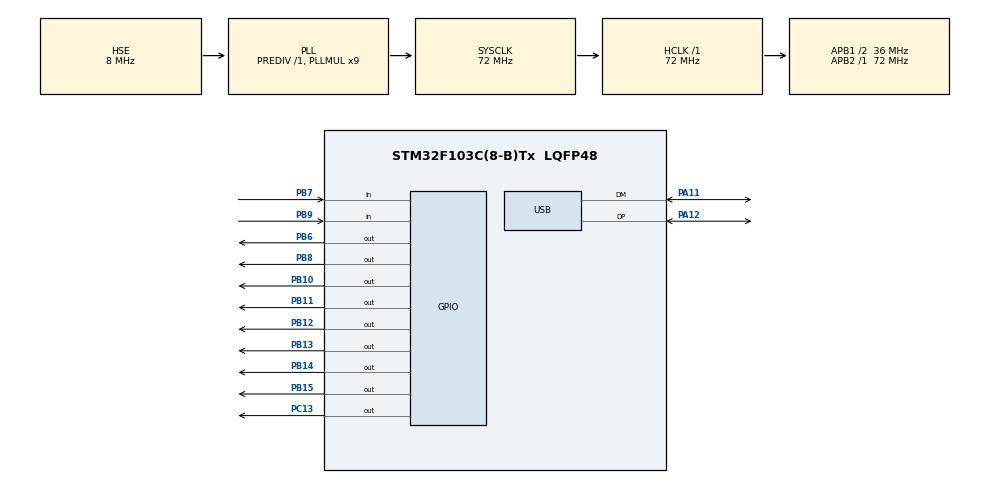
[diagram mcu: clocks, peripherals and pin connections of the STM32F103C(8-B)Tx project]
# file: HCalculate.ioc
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FREERTOS.Tasks01=defaultTask,24,128,StartDefaultTask,Default,NULL,Static,defaultTaskBuffer,defaultTaskControlBlock;KeyTask,40,128,KeyTaskFunc,Default,NULL,Static,KeyTaskBuffer,KeyTaskControlBlock;lcdTask,16,192,lcdTaskFunc,Default,NULL,Static,lcdTaskBuffer,lcdTaskControlBlock;calculatorTask,8,512,calculatorTaskFunc,Default,NULL,Static,claculatorTaskBuffer,claculatorTaskControlBlock;controllerTask,24,256,controllerTaskFunc,Default,NULL,Static,controllerTaskBuffer,controllerTaskControlBlock
FREERTOS.configCHECK_FOR_STACK_OVERFLOW=0
FREERTOS.configTIMER_TASK_STACK_DEPTH=128
FREERTOS.configTOTAL_HEAP_SIZE=1024
FREERTOS.configUSE_MALLOC_FAILED_HOOK=1
Mcu.Family=STM32F1
Mcu.Name=STM32F103C(8-B)Tx
Mcu.Package=LQFP48
NVIC.PriorityGroup=NVIC_PRIORITYGROUP_4
NVIC.TIM4_IRQn=true\:15\:0\:false\:false\:true\:false\:false\:true\:true
NVIC.TimeBase=TIM4_IRQn
NVIC.TimeBaseIP=TIM4
NVIC.USB_LP_CAN1_RX0_IRQn=true\:5\:0\:false\:false\:true\:true\:true\:true\:true
PA11.Mode=Device
PA11.Signal=USB_DM
PA12.Mode=Device
PA12.Signal=USB_DP
PA13.Mode=Serial_Wire
PA13.Signal=SYS_JTMS-SWDIO
PA14.Mode=Serial_Wire
PA14.Signal=SYS_JTCK-SWCLK
PB10.Signal=GPIO_Output
PB11.Signal=GPIO_Output
PB12.Signal=GPIO_Output
PB13.PinState=GPIO_PIN_RESET
PB13.Signal=GPIO_Output
PB14.Signal=GPIO_Output
PB15.Signal=GPIO_Output
PB6.PinState=GPIO_PIN_SET
PB6.Signal=GPIO_Output
PB7.Signal=GPIO_Input
PB8.GPIO_Speed=GPIO_SPEED_FREQ_LOW
PB8.PinState=GPIO_PIN_SET
PB8.Signal=GPIO_Output
PB9.Signal=GPIO_Input
PC13-TAMPER-RTC.PinState=GPIO_PIN_SET
PC13-TAMPER-RTC.Signal=GPIO_Output
PC14-OSC32_IN.Mode=LSE-External-Oscillator
PC14-OSC32_IN.Signal=RCC_OSC32_IN
PC15-OSC32_OUT.Mode=LSE-External-Oscillator
PC15-OSC32_OUT.Signal=RCC_OSC32_OUT
PD0-OSC_IN.Mode=HSE-External-Oscillator
PD0-OSC_IN.Signal=RCC_OSC_IN
PD1-OSC_OUT.Mode=HSE-External-Oscillator
PD1-OSC_OUT.Signal=RCC_OSC_OUT
ProjectManager.HeapSize=0x0
ProjectManager.StackSize=0x400
ProjectManager.TargetToolchain=CMake
RCC.AHBFreq_Value=72000000
RCC.APB1CLKDivider=RCC_HCLK_DIV2
RCC.APB1Freq_Value=36000000
RCC.APB1TimFreq_Value=72000000
RCC.APB2Freq_Value=72000000
RCC.APB2TimFreq_Value=72000000
RCC.HCLKFreq_Value=72000000
RCC.PLLMUL=RCC_PLL_MUL9
RCC.PLLSourceVirtual=RCC_PLLSOURCE_HSE
RCC.SYSCLKFreq_VALUE=72000000
RCC.SYSCLKSource=RCC_SYSCLKSOURCE_PLLCLK
RCC.USBFreq_Value=48000000
RCC.USBPrescaler=RCC_USBCLKSOURCE_PLL_DIV1_5
TIM3.Prescaler=71
USB_DEVICE.APP_RX_DATA_SIZE=128
USB_DEVICE.APP_TX_DATA_SIZE=128
USB_DEVICE.CLASS_NAME_FS=CDC
USB_DEVICE.USBD_MAX_STR_DESC_SIZ=64
USB_DEVICE.VirtualMode=Cdc
USB_DEVICE.VirtualModeFS=Cdc_FS
VP_FREERTOS_VS_CMSIS_V2.Mode=CMSIS_V2
VP_SYS_VS_tim4.Mode=TIM4
VP_TIM3_VS_ClockSourceINT.Mode=Internal
VP_USB_DEVICE_VS_USB_DEVICE_CDC_FS.Mode=CDC_FS
board=custom

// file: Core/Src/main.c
/* USER CODE BEGIN Header */
/**
  ******************************************************************************
  * @file           : main.c
  * @brief          : Main program body
  ******************************************************************************
  * @attention
  *
  * Copyright (c) 2026 STMicroelectronics.
  * All rights reserved.
  *
  * This software is licensed under terms that can be found in the LICENSE file
  * in the root directory of this software component.
  * If no LICENSE file comes with this software, it is provided AS-IS.
  *
  ******************************************************************************
  */
/* USER CODE END Header */
#include "main.h"
#include "cmsis_os.h"

/* USER CODE BEGIN Includes */
#include "calculator_app.h"
#include "usb_device.h"
#include "serial_text.h"
/* USER CODE END Includes */

typedef StaticTask_t osStaticThreadDef_t;

TIM_HandleTypeDef htim3;

/* Definitions for defaultTask */
osThreadId_t defaultTaskHandle;
uint32_t defaultTaskBuffer[ 256 ];
osStaticThreadDef_t defaultTaskControlBlock;
const osThreadAttr_t defaultTask_attributes = {
  .name = "defaultTask",
  .cb_mem = &defaultTaskControlBlock,
  .cb_size = sizeof(defaultTaskControlBlock),
  .stack_mem = &defaultTaskBuffer[0],
  .stack_size = sizeof(defaultTaskBuffer),
  .priority = (osPriority_t) osPriorityNormal,
};
/* Definitions for KeyTask */
osThreadId_t KeyTaskHandle;
uint32_t KeyTaskBuffer[ 128 ];
osStaticThreadDef_t KeyTaskControlBlock;
const osThreadAttr_t KeyTask_attributes = {
  .name = "KeyTask",
  .cb_mem = &KeyTaskControlBlock,
  .cb_size = sizeof(KeyTaskControlBlock),
  .stack_mem = &KeyTaskBuffer[0],
  .stack_size = sizeof(KeyTaskBuffer),
  .priority = (osPriority_t) osPriorityHigh,
};
/* Definitions for lcdTask */
osThreadId_t lcdTaskHandle;
uint32_t lcdTaskBuffer[ 192 ];
osStaticThreadDef_t lcdTaskControlBlock;
const osThreadAttr_t lcdTask_attributes = {
  .name = "lcdTask",
  .cb_mem = &lcdTaskControlBlock,
  .cb_size = sizeof(lcdTaskControlBlock),
  .stack_mem = &lcdTaskBuffer[0],
  .stack_size = sizeof(lcdTaskBuffer),
  .priority = (osPriority_t) osPriorityBelowNormal,
};
/* Definitions for calculatorTask */
osThreadId_t calculatorTaskHandle;
uint32_t claculatorTaskBuffer[ 512 ];
osStaticThreadDef_t claculatorTaskControlBlock;
const osThreadAttr_t calculatorTask_attributes = {
  .name = "calculatorTask",
  .cb_mem = &claculatorTaskControlBlock,
  .cb_size = sizeof(claculatorTaskControlBlock),
  .stack_mem = &claculatorTaskBuffer[0],
  .stack_size = sizeof(claculatorTaskBuffer),
  .priority = (osPriority_t) osPriorityLow,
};
/* Definitions for controllerTask */
osThreadId_t controllerTaskHandle;
uint32_t controllerTaskBuffer[ 256 ];
osStaticThreadDef_t controllerTaskControlBlock;
const osThreadAttr_t controllerTask_attributes = {
  .name = "controllerTask",
  .cb_mem = &controllerTaskControlBlock,
  .cb_size = sizeof(controllerTaskControlBlock),
  .stack_mem = &controllerTaskBuffer[0],
  .stack_size = sizeof(controllerTaskBuffer),
  .priority = (osPriority_t) osPriorityNormal,
};

void SystemClock_Config(void);
static void MX_GPIO_Init(void);
static void MX_TIM3_Init(void);
void StartDefaultTask(void *argument);
void KeyTaskFunc(void *argument);
void lcdTaskFunc(void *argument);
void calculatorTaskFunc(void *argument);
void controllerTaskFunc(void *argument);

int main(void)
{

  /* MCU Configuration--------------------------------------------------------*/

  /* Reset of all peripherals, Initializes the Flash interface and the Systick. */
  HAL_Init();

  /* Configure the system clock */
  SystemClock_Config();

  /* Initialize all configured peripherals */
  MX_GPIO_Init();
  MX_TIM3_Init();
  /* USER CODE BEGIN 2 */

  if (HAL_TIM_Base_Start(&htim3) != HAL_OK)
  {
    Error_Handler();
  }

  /* 阶段 2：启动 USB CDC，电脑端会看到虚拟串口。 */
  MX_USB_DEVICE_Init();

  /* USER CODE END 2 */

  /* Init scheduler */
  osKernelInitialize();

  /* USER CODE BEGIN RTOS_QUEUES */
  calculator_app_init();
  /* USER CODE END RTOS_QUEUES */

  /* Create the thread(s) */
  /* creation of defaultTask */
  defaultTaskHandle = osThreadNew(StartDefaultTask, NULL, &defaultTask_attributes);

  /* creation of KeyTask */
  KeyTaskHandle = osThreadNew(KeyTaskFunc, NULL, &KeyTask_attributes);

  /* creation of lcdTask */
  lcdTaskHandle = osThreadNew(lcdTaskFunc, NULL, &lcdTask_attributes);

  /* creation of calculatorTask */
  calculatorTaskHandle = osThreadNew(calculatorTaskFunc, NULL, &calculatorTask_attributes);

  /* creation of controllerTask */
  controllerTaskHandle = osThreadNew(controllerTaskFunc, NULL, &controllerTask_attributes);

  /* Start scheduler */
  osKernelStart();

  /* We should never get here as control is now taken by the scheduler */

  /* Infinite loop */
  while (1)
  {

  }
}

void SystemClock_Config(void)
{
  RCC_OscInitTypeDef RCC_OscInitStruct = {0};
  RCC_ClkInitTypeDef RCC_ClkInitStruct = {0};
  RCC_PeriphCLKInitTypeDef PeriphClkInit = {0};

  /** Initializes the RCC Oscillators according to the specified parameters
  * in the RCC_OscInitTypeDef structure.
  */
  RCC_OscInitStruct.OscillatorType = RCC_OSCILLATORTYPE_HSE;
  RCC_OscInitStruct.HSEState = RCC_HSE_ON;
  RCC_OscInitStruct.HSEPredivValue = RCC_HSE_PREDIV_DIV1;
  RCC_OscInitStruct.HSIState = RCC_HSI_ON;
  RCC_OscInitStruct.PLL.PLLState = RCC_PLL_ON;
  RCC_OscInitStruct.PLL.PLLSource = RCC_PLLSOURCE_HSE;
  RCC_OscInitStruct.PLL.PLLMUL = RCC_PLL_MUL9;
  if (HAL_RCC_OscConfig(&RCC_OscInitStruct) != HAL_OK)
  {
    Error_Handler();
  }

  /** Initializes the CPU, AHB and APB buses clocks
  */
  RCC_ClkInitStruct.ClockType = RCC_CLOCKTYPE_HCLK|RCC_CLOCKTYPE_SYSCLK
                              |RCC_CLOCKTYPE_PCLK1|RCC_CLOCKTYPE_PCLK2;
  RCC_ClkInitStruct.SYSCLKSource = RCC_SYSCLKSOURCE_PLLCLK;
  RCC_ClkInitStruct.AHBCLKDivider = RCC_SYSCLK_DIV1;
  RCC_ClkInitStruct.APB1CLKDivider = RCC_HCLK_DIV2;
  RCC_ClkInitStruct.APB2CLKDivider = RCC_HCLK_DIV1;

  if (HAL_RCC_ClockConfig(&RCC_ClkInitStruct, FLASH_LATENCY_2) != HAL_OK)
  {
    Error_Handler();
  }
  PeriphClkInit.PeriphClockSelection = RCC_PERIPHCLK_USB;
  PeriphClkInit.UsbClockSelection = RCC_USBCLKSOURCE_PLL_DIV1_5;
  if (HAL_RCCEx_PeriphCLKConfig(&PeriphClkInit) != HAL_OK)
  {
    Error_Handler();
  }
}

static void MX_TIM3_Init(void)
{

  TIM_ClockConfigTypeDef sClockSourceConfig = {0};
  TIM_MasterConfigTypeDef sMasterConfig = {0};

  htim3.Instance = TIM3;
  htim3.Init.Prescaler = 71;
  htim3.Init.CounterMode = TIM_COUNTERMODE_UP;
  htim3.Init.Period = 65535;
  htim3.Init.ClockDivision = TIM_CLOCKDIVISION_DIV1;
  htim3.Init.AutoReloadPreload = TIM_AUTORELOAD_PRELOAD_DISABLE;
  if (HAL_TIM_Base_Init(&htim3) != HAL_OK)
  {
    Error_Handler();
  }
  sClockSourceConfig.ClockSource = TIM_CLOCKSOURCE_INTERNAL;
  if (HAL_TIM_ConfigClockSource(&htim3, &sClockSourceConfig) != HAL_OK)
  {
    Error_Handler();
  }
  sMasterConfig.MasterOutputTrigger = TIM_TRGO_RESET;
  sMasterConfig.MasterSlaveMode = TIM_MASTERSLAVEMODE_DISABLE;
  if (HAL_TIMEx_MasterConfigSynchronization(&htim3, &sMasterConfig) != HAL_OK)
  {
    Error_Handler();
  }

}

static void MX_GPIO_Init(void)
{
  GPIO_InitTypeDef GPIO_InitStruct = {0};

  /* GPIO Ports Clock Enable */
  __HAL_RCC_GPIOC_CLK_ENABLE();
  __HAL_RCC_GPIOD_CLK_ENABLE();
  __HAL_RCC_GPIOB_CLK_ENABLE();
  __HAL_RCC_GPIOA_CLK_ENABLE();

  /*Configure GPIO pin Output Level */
  HAL_GPIO_WritePin(GPIOC, GPIO_PIN_13, GPIO_PIN_SET);

  /*Configure GPIO pin Output Level */
  HAL_GPIO_WritePin(GPIOB, GPIO_PIN_10|GPIO_PIN_11|GPIO_PIN_12|GPIO_PIN_13
                          |GPIO_PIN_14|GPIO_PIN_15, GPIO_PIN_RESET);

  /*Configure GPIO pin Output Level */
  HAL_GPIO_WritePin(GPIOB, GPIO_PIN_6|GPIO_PIN_8, GPIO_PIN_SET);

  /*Configure GPIO pin : PC13 */
  GPIO_InitStruct.Pin = GPIO_PIN_13;
  GPIO_InitStruct.Mode = GPIO_MODE_OUTPUT_PP;
  GPIO_InitStruct.Pull = GPIO_NOPULL;
  GPIO_InitStruct.Speed = GPIO_SPEED_FREQ_LOW;
  HAL_GPIO_Init(GPIOC, &GPIO_InitStruct);

  /*Configure GPIO pins : PB10 PB11 PB12 PB13
                           PB14 PB15 PB6 PB8 */
  GPIO_InitStruct.Pin = GPIO_PIN_10|GPIO_PIN_11|GPIO_PIN_12|GPIO_PIN_13
                          |GPIO_PIN_14|GPIO_PIN_15|GPIO_PIN_6|GPIO_PIN_8;
  GPIO_InitStruct.Mode = GPIO_MODE_OUTPUT_PP;
  GPIO_InitStruct.Pull = GPIO_NOPULL;
  GPIO_InitStruct.Speed = GPIO_SPEED_FREQ_LOW;
  HAL_GPIO_Init(GPIOB, &GPIO_InitStruct);

  /*Configure GPIO pins : PB7 PB9 */
  GPIO_InitStruct.Pin = GPIO_PIN_7|GPIO_PIN_9;
  GPIO_InitStruct.Mode = GPIO_MODE_INPUT;
  GPIO_InitStruct.Pull = GPIO_NOPULL;
  HAL_GPIO_Init(GPIOB, &GPIO_InitStruct);

}

void StartDefaultTask(void *argument)
{
  /* USER CODE BEGIN 5 */
  uint32_t heartbeat = 0U;

  (void)argument;
  serial_text_init();
  osDelay(300U);

  for (;;)
  {
    serial_text_poll();

    if (++heartbeat >= 25U)
    {
      heartbeat = 0U;
      HAL_GPIO_TogglePin(GPIOC, GPIO_PIN_13);
    }
    osDelay(20U);
  }
  /* USER CODE END 5 */
}

void KeyTaskFunc(void *argument)
{
  /* USER CODE BEGIN KeyTaskFunc */
  (void)argument;
  calculator_key_task();
  /* USER CODE END KeyTaskFunc */
}

void lcdTaskFunc(void *argument)
{
  /* USER CODE BEGIN lcdTaskFunc */
  (void)argument;
  calculator_lcd_task();
  /* USER CODE END lcdTaskFunc */
}

void calculatorTaskFunc(void *argument)
{
  /* USER CODE BEGIN calculatorTaskFunc */
  (void)argument;
  calculator_compute_task();
  /* USER CODE END calculatorTaskFunc */
}

void controllerTaskFunc(void *argument)
{
  /* USER CODE BEGIN controllerTaskFunc */
  (void)argument;
  calculator_controller_task();
  /* USER CODE END controllerTaskFunc */
}

void HAL_TIM_PeriodElapsedCallback(TIM_HandleTypeDef *htim)
{
  if (htim->Instance == TIM4) {
    HAL_IncTick();
  }
}

void Error_Handler(void)
{
  __disable_irq();
  while (1)
  {
  }
}
